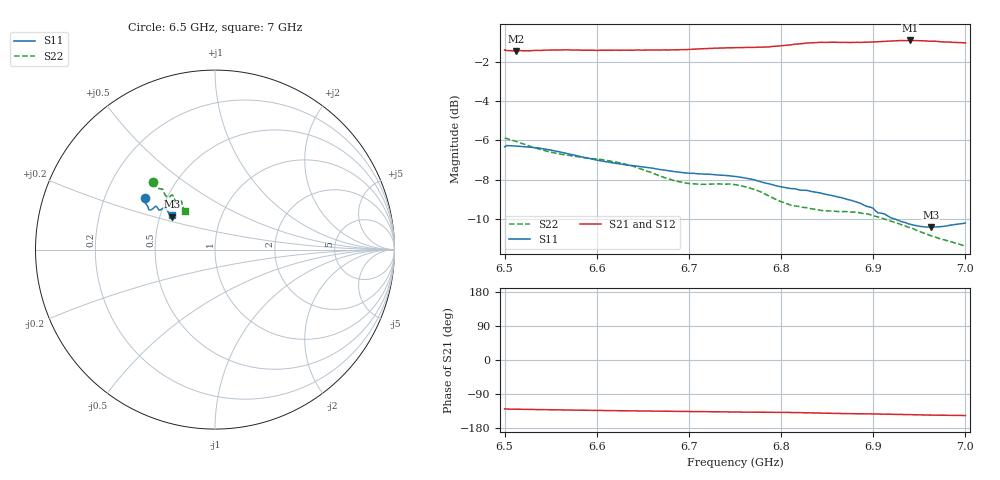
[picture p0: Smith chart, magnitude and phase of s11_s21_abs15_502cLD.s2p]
! MS46122B
! 1919307/90821646
! 7/29/2022 2:57:46 PM
! C:\USERS\PC_\DESKTOP\MEDICIONES\BANCHA ESTRECHA\65_7GHZ\S11_S21_ABS15_502CL.S2P
! CHANNEL.1
! TR.MEASUREMENT
! CORRECTED.DATA
# GHZ S RI R 50.0
! FREQ.GHZ  S11RE  S11IM  S21RE  S21IM  S12RE  S12IM  S22RE  S22IM
!; PortSelection: Port_12
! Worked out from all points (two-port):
!   201 points, 6.5 GHz to 7 GHz, reference 50 ohm
!   highest |S21| = -0.91 dB at 6.94 GHz (marker M1); lowest = -1.4 dB at 6.513 GHz (marker M2)
!   |S21| within 3 dB of the highest: start of sweep to end of sweep
!   lowest |S11| = -10.4 dB at 6.963 GHz (marker M3), VSWR 1.86, Z = 29 + j11.7 ohm
!   |S11| at or under -10 dB: 6.924 GHz to end of sweep
!   |S22| runs from -11.4 to -5.9 dB; largest |S21 - S12| = 0.0096
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6.5  -0.388 0.2879  -0.5375 -0.6611  -0.5333 -0.6584  -0.3439 0.375
6.5025  -0.3936 0.286  -0.5391 -0.6557  -0.5347 -0.6571  -0.3425 0.3734
6.5125  -0.3957 0.2807  -0.542 -0.6515  -0.5368 -0.6544  -0.3382 0.3657
6.5475  -0.3937 0.2659  -0.5588 -0.6416  -0.5522 -0.6484  -0.3211 0.3429
6.585  -0.38 0.2495  -0.5755 -0.6265  -0.5737 -0.6335  -0.302 0.339
6.6225  -0.3716 0.2315  -0.589 -0.614  -0.5873 -0.6171  -0.2896 0.333
6.6675  -0.3613 0.2201  -0.6023 -0.602  -0.6018 -0.604  -0.2754 0.3006
6.7  -0.3448 0.2287  -0.6123 -0.5966  -0.6117 -0.5984  -0.2583 0.2916
6.7275  -0.3327 0.24  -0.6251 -0.5924  -0.6236 -0.5931  -0.246 0.3006
6.75  -0.3267 0.2411  -0.6342 -0.586  -0.6318 -0.5873  -0.2389 0.3044
6.775  -0.3203 0.2319  -0.6419 -0.5817  -0.6385 -0.5806  -0.2311 0.2932
6.8  -0.3121 0.2204  -0.6504 -0.5822  -0.6465 -0.5821  -0.2219 0.2708
6.815  -0.3065 0.2208  -0.6618 -0.5822  -0.6564 -0.5828  -0.218 0.2629
6.835  -0.2931 0.2274  -0.6766 -0.5762  -0.6743 -0.5776  -0.2065 0.2643
6.855  -0.2797 0.2315  -0.6907 -0.564  -0.6886 -0.5647  -0.195 0.2678
6.875  -0.2714 0.2266  -0.6975 -0.5527  -0.6943 -0.5511  -0.1898 0.2695
6.895  -0.2635 0.2145  -0.7047 -0.5472  -0.6997 -0.5439  -0.1862 0.2668
6.905  -0.2568 0.204  -0.7097 -0.5438  -0.7045 -0.5418  -0.1853 0.2616
6.9175  -0.2534 0.1955  -0.7176 -0.5384  -0.7107 -0.5382  -0.1837 0.2537
6.94  -0.2455 0.184  -0.7312 -0.5261  -0.7239 -0.5283  -0.1813 0.2401
6.9625  -0.2391 0.1836  -0.7378 -0.5096  -0.7327 -0.5122  -0.1739 0.228
7  -0.2398 0.195  -0.741 -0.49  -0.7339 -0.4911  -0.1662 0.2125
